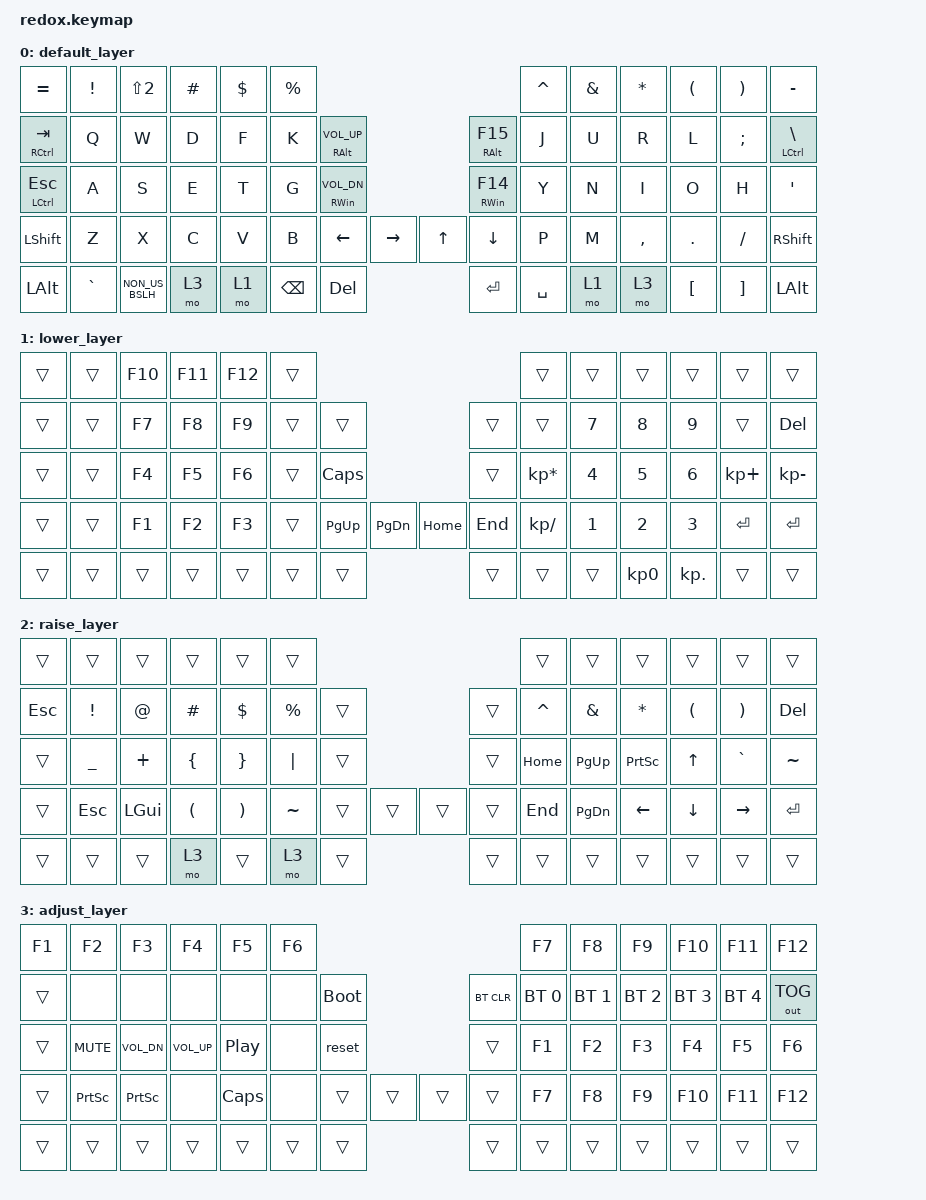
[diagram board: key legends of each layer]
/*
 * Copyright (c) 2021 The ZMK Contributors
 *
 * SPDX-License-Identifier: MIT
 */

#include <behaviors.dtsi>
#include <dt-bindings/zmk/keys.h>
#include <dt-bindings/zmk/bt.h>
#include <dt-bindings/zmk/outputs.h>

&mt {
    tapping-term-ms = <300>;
};

/ {
    keymap {
        compatible = "zmk,keymap";

        default_layer {
            // ---------------------------------------------------------------------------------------------------------------------------------------
            // | CAPS WORD  |  !  |  "  |    £   |  $  |  %  |                    ---                |  ^   |  &    |    *   |  (   | )   |   LOWER   |
            // | GUI (TAB)  |  Q  |  W  |    D   |  F  |  K  |  F13   |           ---        |  F15  |  J   |  U    |    R   |  L   | ;   |  GUI (-)  |
            // | CTRL (ESC) |  A  |  S  |    E   |  T  |  G  |  F14   |           ---        |  F16  |  Y   |  N    |    I   |  O   | H   | CTRL (')  |
            // | SHIFT      |  Z  |  X  |    C   |  V  |  B  |  LEFT  |  RIGHT  | --- |  UP  | DOWN  |  P   |  M    |    ,   |  .   | /   | SHFT(RET) |
            // | ALT        |  `  |  \  | ADJUST |   LOWER   | BSPACE |   DEL   | --- | RET  | SPACE |     LOWER    | ADJUST |   [  |  ]  |   ALTGR   |

            bindings = <
     &kp EQUAL   &kp EXCL       &kp LS(N2)  &kp POUND  &kp DLLR  &kp PRCNT                                                                 &kp CARET          &kp AMPS   &kp STAR  &kp LPAR  &kp RPAR       &kp MINUS
 &mt RCTRL TAB      &kp Q            &kp W      &kp D     &kp F      &kp K       &mt RALT C_VOL_UP                           &mt RALT F15      &kp J             &kp U      &kp R     &kp L  &kp SEMI  &mt LCTRL BSLH
 &mt LCTRL ESC      &kp A            &kp S      &kp E     &kp T      &kp G  &mt RIGHT_WIN C_VOL_DN                      &mt RIGHT_WIN F14      &kp Y             &kp N      &kp I     &kp O     &kp H        &kp APOS
     &kp LSHFT      &kp Z            &kp X      &kp C     &kp V      &kp B                &kp LEFT  &kp RIGHT   &kp UP           &kp DOWN      &kp P             &kp M  &kp COMMA   &kp DOT  &kp FSLH       &kp RSHFT
      &kp LALT  &kp GRAVE  &kp NON_US_BSLH      &mo 3                &mo 1                &kp BSPC    &kp DEL  &kp RET          &kp SPACE              &mo 1                &mo 3  &kp LBKT  &kp RBKT        &kp LALT
            >;
        };

        lower_layer {
            // ---------------------------------------------------------------------------------------------------------------------------------------
            // |    CAPS    | F10 | F11 |  F12   |     |     |                    ---                |      |       |        |      |     |           |
            // |            |  F7 |  F8 |   F9   |     |     |        |           ---        |       |      |  7    |   8    |  9   |     |    DEL    |
            // |            |  F4 |  F5 |   F6   |     |     |        |           ---        |       |  *   |  4    |   5    |  6   |  +  |     -     |
            // |            |  F1 |  F2 |   F3   |     |     | PG_UP  | PG_DOWN | --- | HOME |  END  |  /   |  1    |   2    |  3   | RET |    RET    |
            // |            |     |     |        |           |        |         | --- |      |       |              |   0    |      |     |           |

            bindings = <
 &trans  &trans  &kp F10  &kp F11  &kp F12  &trans                                                    &trans          &trans     &trans      &trans       &trans        &trans
 &trans  &trans   &kp F7   &kp F8   &kp F9  &trans     &trans                        &trans           &trans          &kp N7     &kp N8      &kp N9       &trans       &kp DEL
 &trans  &trans   &kp F4   &kp F5   &kp F6  &trans   &kp CAPS                        &trans  &kp KP_MULTIPLY          &kp N4     &kp N5      &kp N6  &kp KP_PLUS  &kp KP_MINUS
 &trans  &trans   &kp F1   &kp F2   &kp F3  &trans  &kp PG_UP  &kp PG_DN  &kp HOME  &kp END    &kp KP_DIVIDE          &kp N1     &kp N2      &kp N3      &kp RET       &kp RET
 &trans  &trans   &trans   &trans           &trans     &trans     &trans    &trans   &trans                   &trans          &kp KP_N0  &kp KP_DOT       &trans        &trans
            >;
        };

        raise_layer {
            // ----------------------------------------------------------------------------------------------------------------------------
            // | ESC   |  1  |  2  |   3   |  4  |  5  |                   ---                |  6   |  7   |  8   |  9   |  0    |  DEL  |
            // | ESC   |  !  |  @  |   #   |  $  |  %  |   (   |           ---        |  )    |  ^   |  &   |  *   |  (   |  )    |  DEL  |
            // | CTRL  |  _  |  +  |   {   |  }  | "|" |   [   |           ---        |  ]    | HOME | PGUP | PRSC | UP   |  `    |   ~   |
            // | SHIFT | ESC | GUI |   (   |  )  |     | PG_UP | PG_DOWN | --- | HOME | END   | END  | PGDN | LEFT | DOWN | RIGHT |  RET  |
            // | CRTL  | ALT | GUI | LOWER |    GUI    | LOWER | SPACE   | --- | DEL  | SPACE |    RAISE    | LEFT | DOWN | UP    | RIGHT |

            bindings = <
  &trans     &trans    &trans    &trans    &trans     &trans                                     &trans             &trans     &trans    &trans     &trans     &trans
 &kp ESC   &kp EXCL    &kp AT  &kp HASH  &kp DLLR  &kp PRCNT  &trans                  &trans  &kp CARET           &kp AMPS  &kp ASTRK  &kp LPAR   &kp RPAR    &kp DEL
  &trans  &kp UNDER  &kp PLUS  &kp LBRC  &kp RBRC   &kp PIPE  &trans                  &trans   &kp HOME          &kp PG_UP  &kp PSCRN    &kp UP  &kp GRAVE  &kp TILDE
  &trans    &kp ESC  &kp LGUI  &kp LPAR  &kp RPAR  &kp TILDE  &trans  &trans  &trans  &trans    &kp END          &kp PG_DN   &kp LEFT  &kp DOWN  &kp RIGHT    &kp RET
  &trans     &trans    &trans     &mo 3               &trans   &mo 3  &trans  &trans  &trans             &trans                &trans    &trans     &trans     &trans
            >;
        };

        adjust_layer {
            // -----------------------------------------------------------------------------------------
            // |  F1   |  F2   |    F3    |    F4     |     F5     | F6 |                   ---                | F7  | F8  |  F9  |  F10 | F11 | F12        |
            // | TAB   |       |          |           |            |    | BOOTL |           ---        |  )    | BT1 | BT2 |  BT3 |  BT4 | BT5 | OUTPUT TGL |
            // | CTRL  | MUTE  |  Vol Dn  |  Vol Up   | Play/Pause |    | RESET |           ---        |  ]    | F1  | F2  |  F3  |  F4  | F5  | F6         |
            // | SHIFT | PSCRN |  PSCRN   |   CAPS    |            |    | PG_UP | PG_DOWN | --- | HOME | END   | F7  | F8  |  F9  |  F10 | F11 | F12        |
            // | CRTL  | ALT   |  GUI     |   LOWER   |      GUI        | LOWER | SPACE   | --- | DEL  | SPACE |   RAISE   | LEFT | DOWN | UP  |   RIGHT    |

            bindings = <
 &kp F1      &kp F2        &kp F3        &kp F4            &kp F5  &kp F6                                                 &kp F7                &kp F8        &kp F9       &kp F10       &kp F11       &kp F12
 &trans       &none         &none         &none             &none   &none  &bootloader                  &bt BT_CLR  &bt BT_SEL 0          &bt BT_SEL 1  &bt BT_SEL 2  &bt BT_SEL 3  &bt BT_SEL 4  &out OUT_TOG
 &trans  &kp C_MUTE  &kp C_VOL_DN  &kp C_VOL_UP  &kp C_PLAY_PAUSE   &none       &reset                      &trans        &kp F1                &kp F2        &kp F3        &kp F4        &kp F5        &kp F6
 &trans   &kp PSCRN     &kp PSCRN         &none          &kp CAPS   &none       &trans  &trans  &trans      &trans        &kp F7                &kp F8        &kp F9       &kp F10       &kp F11       &kp F12
 &trans      &trans        &trans        &trans                    &trans       &trans  &trans  &trans      &trans                &trans                      &trans        &trans        &trans        &trans
            >;
        };
    };
};
